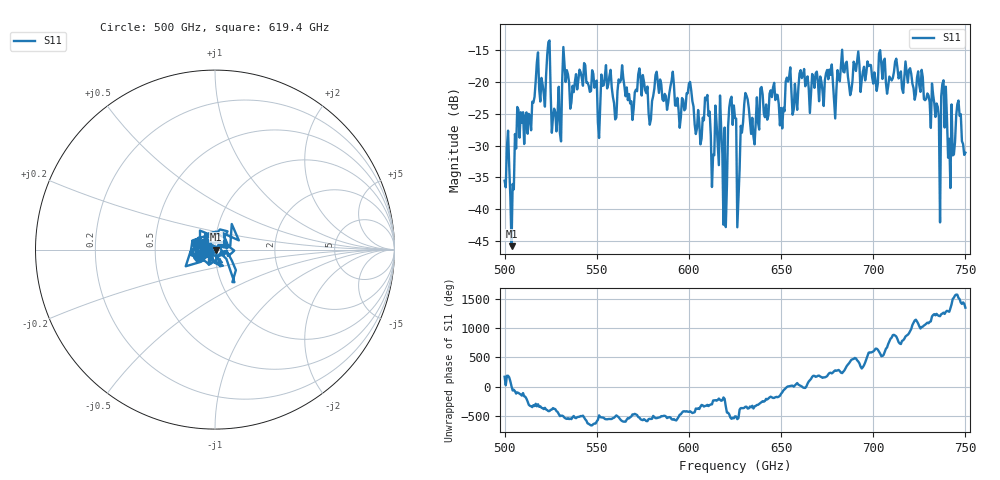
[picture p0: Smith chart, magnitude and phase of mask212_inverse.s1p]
!Created with skrf (http://scikit-rf.org).
# GHz S MA R 50.0
!freq magS11 angS11
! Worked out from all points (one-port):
!   401 points, 500 GHz to 750 GHz, reference 50 ohm
!   lowest |S11| = -45.8 dB at 503.8 GHz (marker M1), VSWR 1.01, Z = 50.5 + j0.0383 ohm
!   |S11| at or under -10 dB: start of sweep to end of sweep
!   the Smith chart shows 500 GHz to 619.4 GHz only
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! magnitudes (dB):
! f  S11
! 500 GHz  -35.5
! 503.8 GHz  -45.8
! 506.9 GHz  -23.9
! 517.5 GHz  -16.9
! 523.8 GHz  -13.8
! 526.9 GHz  -24.2
! 531.2 GHz  -19.7
! 560 GHz  -25.9
! 562.5 GHz  -20.1
! 593.8 GHz  -22.5
! 610 GHz  -22.1
! 612.5 GHz  -36.5
! 618.1 GHz  -31.2
! 619.4 GHz  -27.2
! 622.5 GHz  -22.8
! 625 GHz  -25.6
! 627.5 GHz  -33.8
! 631.2 GHz  -22.2
! 635 GHz  -28.6
! 656.2 GHz  -25.2
! 687.5 GHz  -22.1
! 718.8 GHz  -20.1
! 733.1 GHz  -23.4
! 735 GHz  -23.9
! 738.1 GHz  -19.8
! 741.9 GHz  -36.7
! 746.2 GHz  -22.9
! 750 GHz  -31.1
